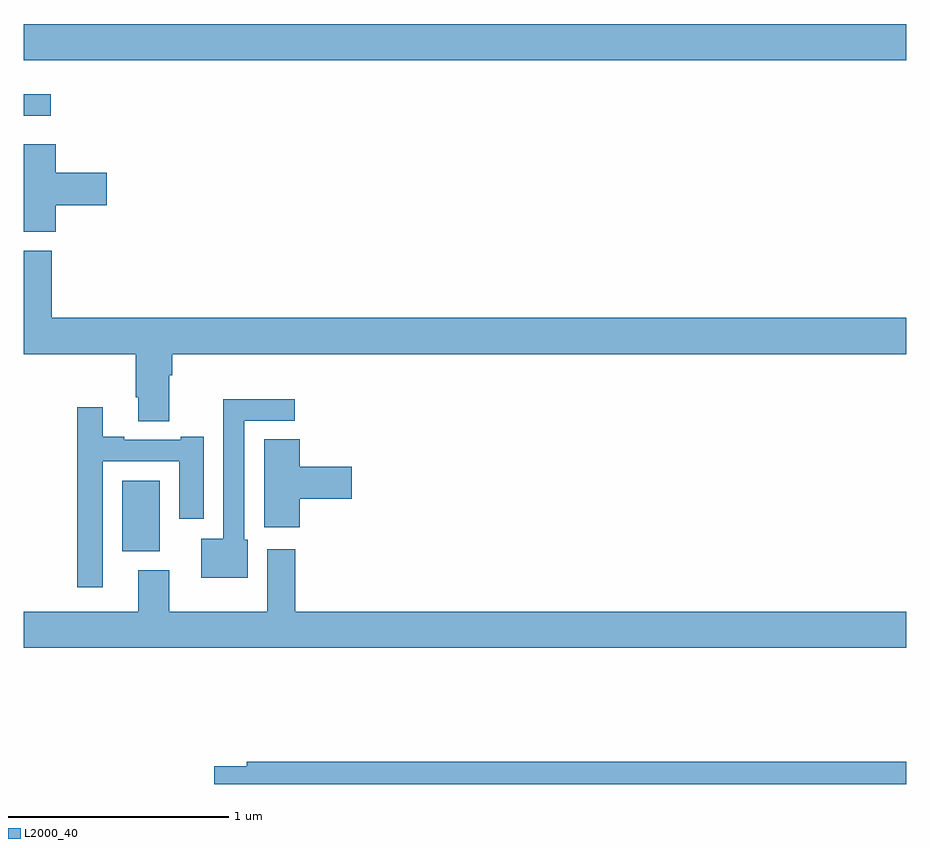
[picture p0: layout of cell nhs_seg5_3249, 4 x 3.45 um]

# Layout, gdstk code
import gdstk
lib = gdstk.Library(unit=1e-6, precision=1e-09)
def R(c, l, rs):  # rectangles x0, y0, x1, y1
    for r in rs: c.add(gdstk.rectangle(r[:2], r[2:], *l))
def P(c, l, *ps):  # polygons
    for p in ps: c.add(gdstk.Polygon(p, *l))
L2000_40 = (2000, 40)

nhs_seg5_3249 = lib.new_cell('nhs_seg5_3249')
R(nhs_seg5_3249, L2000_40, [(299.447,867.854,299.617,868.174), (299,869.828,299.122,869.926), (299,870.08,303,870.244)])
P(nhs_seg5_3249, L2000_40, [(299.144,869.423),(299.377,869.423),(299.377,869.57),(299.144,869.57),(299.144,869.698),(299,869.698),(299,869.302),(299.144,869.302)],
  [(299.659,868.652),(299.672,868.652),(299.672,868.748),(303,868.748),(303,868.912),(299.126,868.912),(299.126,869.217),(299,869.217),(299,868.748),(299.507,868.748),(299.507,868.552),(299.519,868.552),(299.519,868.444),(299.659,868.444)],
  [(300.016,867.906),(300,867.906),(300,868.446),(300.229,868.446),(300.229,868.544),(299.904,868.544),(299.904,867.91),(299.804,867.91),(299.804,867.734),(300.016,867.734)],
  [(299.358,868.263),(299.705,868.263),(299.705,868.002),(299.815,868.002),(299.815,868.372),(299.711,868.372),(299.711,868.359),(299.455,868.359),(299.455,868.372),(299.359,868.372),(299.359,868.507),(299.242,868.507),(299.242,867.69),(299.358,867.69)],
  [(300.251,868.091),(300.487,868.091),(300.487,868.238),(300.251,868.238),(300.251,868.361),(300.089,868.361),(300.089,867.963),(300.251,867.963)],
  [(303,867.58),(300.23,867.58),(300.23,867.862),(300.104,867.862),(300.104,867.58),(299.659,867.58),(299.659,867.769),(299.519,867.769),(299.519,867.58),(299,867.58),(299,867.416),(303,867.416)],
  [(303,866.9),(300.01,866.9),(300.01,866.88),(299.864,866.88),(299.864,866.799),(303,866.799)])

lib.write_gds('nhs_seg5_3249.gds')
